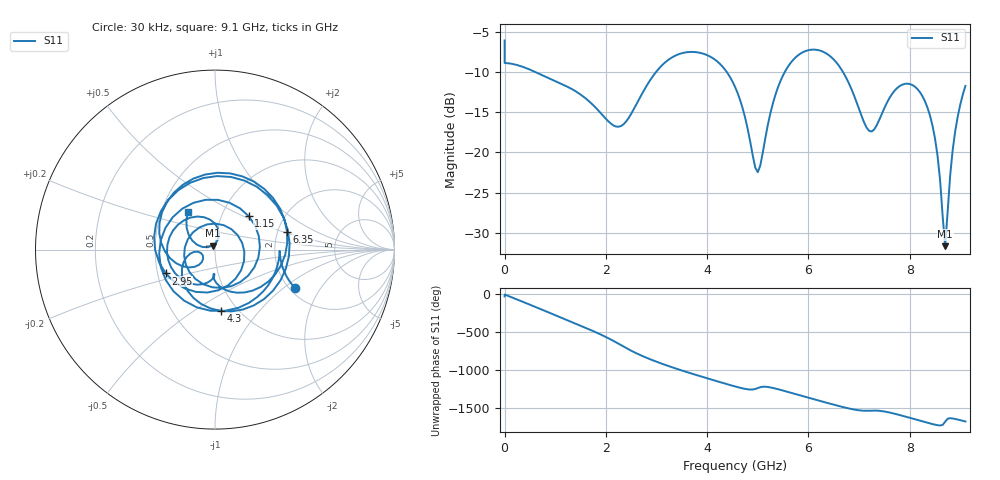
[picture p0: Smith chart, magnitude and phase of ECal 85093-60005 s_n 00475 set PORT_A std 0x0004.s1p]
!Created with skrf (http://scikit-rf.org).
# Hz S RI R 50.0
!freq ReS11 ImS11
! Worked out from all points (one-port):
!   252 points, 30 kHz to 9.1 GHz, reference 50 ohm
!   lowest |S11| = -31.7 dB at 8.7 GHz (marker M1), VSWR 1.05, Z = 48.6 + j2.16 ohm
!   |S11| at or under -10 dB: 609.7 MHz to 2.99 GHz (2.38 GHz wide, 132 % of centre); 4.388 GHz to 5.533 GHz (1.145 GHz wide, 23.1 % of centre); 6.683 GHz to end of sweep
!   S11 on the Smith chart (normalised r, x): 30 kHz: 2.14, -1.23; 1.15 GHz: 1.34, +0.54; 2.95 GHz: 0.55, -0.16; 4.3 GHz: 0.84, -0.65; 6.35 GHz: 2.25, +0.54; 9.1 GHz: 0.68, +0.31
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30000  0.448 -0.2165
1950000  0.3602 -0.00725
3e8  0.0562 -0.3408
6e8  -0.3021 -0.0972
9e8  -0.1197 0.2607
1.15e9  0.187 0.1871
1.6e9  0.0374 -0.2137
1.9e9  -0.1719 -0.0348
2.3e9  0.0913 0.1139
2.55e9  0.1452 -0.1156
2.95e9  -0.2744 -0.1327
3.2e9  -0.3013 0.2143
3.45e9  0.0118 0.4096
3.85e9  0.4157 0.0355
4.3e9  0.0311 -0.3416
4.6e9  -0.184 -0.1458
5e9  -0.0679 -0.0327
5.35e9  -0.2163 -0.076
5.7e9  -0.2682 0.2652
6e9  0.0845 0.4245
6.35e9  0.4013 0.0999
6.85e9  0.0828 -0.2335
7.25e9  -0.00449 -0.1348
8e9  -0.2652 0.0267
8.45e9  -0.00225 0.1469
8.7e9  -0.0137 0.0222
8.85e9  -0.1004 0.0273
9.1e9  -0.1499 0.2115
